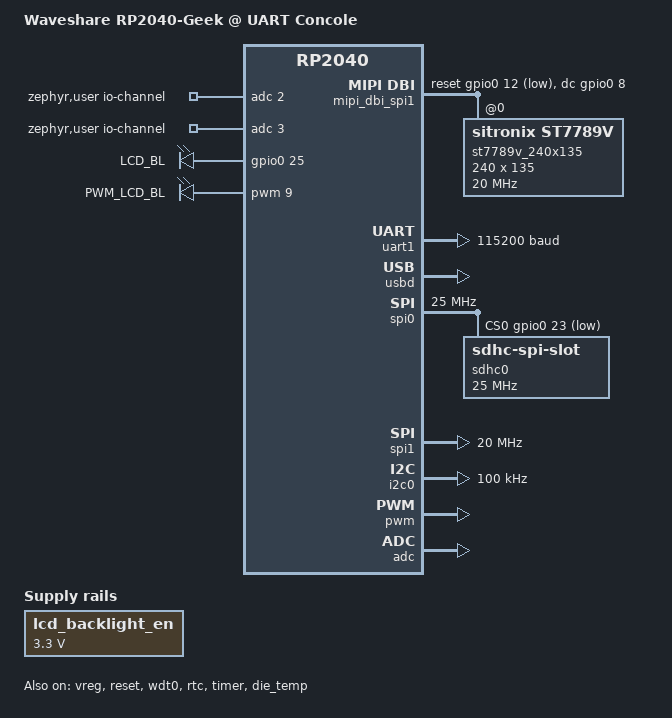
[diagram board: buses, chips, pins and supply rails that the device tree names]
/*
 * SPDX-FileCopyrightText: Copyright (c) 2023-2026 TiaC Systems
 * SPDX-License-Identifier: Apache-2.0
 */

/dts-v1/;

#include <freq.h>
#include <mem.h>

#include <raspberrypi/rpi_pico/rp2040.dtsi>
#include <raspberrypi/partitions_2M_default.dtsi>

#include <zephyr/dt-bindings/clock/rpi_pico_rp2040_clock.h>
#include <zephyr/dt-bindings/regulator/rpi_pico.h>

#include <zephyr/dt-bindings/gpio/gpio.h>
#include <zephyr/dt-bindings/i2c/i2c.h>
#include <zephyr/dt-bindings/pwm/pwm.h>

#include <zephyr/dt-bindings/display/panel.h>
#include <zephyr/dt-bindings/mipi_dbi/mipi_dbi.h>

#include "stemma_qt_connector.dtsi"
#include "raspberrypi_dbg_connectors.dtsi"
#include "waveshare_rp2040_geek-pinctrl.dtsi"

/ {
	model = "Waveshare RP2040-Geek @ UART Concole";
	compatible = "waveshare,rp2040-geek",
		     "waveshare,rp2040-geek-uartcons";

	chosen {
		zephyr,sram = &sram0;
		zephyr,flash = &flash0;
		zephyr,flash-controller = &ssi;
		zephyr,code-partition = &code_partition;
		zephyr,console = &uart1;
		zephyr,shell-uart = &uart1;
		zephyr,display = &lcd_panel;
	};

	aliases {
		watchdog0 = &wdt0;
		led0 = &led0;
		pwm-led0 = &pwm_led0;
	};

	zephyr,user {
		io-channels = <&adc 2>, <&adc 3>;
	};

	gpio_leds: gpio-leds {
		compatible = "gpio-leds";

		led0: led0 {
			gpios = <&gpio0 25 GPIO_ACTIVE_HIGH>;
			label = "LCD_BL";
		};
	};

	pwm_leds: pwm-leds {
		compatible = "pwm-leds";

		pwm_led0: pwm-led0 {
			pwms = <&pwm 9 PWM_MSEC(20) PWM_POLARITY_NORMAL>;
			label = "PWM_LCD_BL";
		};
	};

	mipi_dbi_spi1: mipi-dbi-spi1 {
		compatible = "zephyr,mipi-dbi-spi";
		#address-cells = <1>;
		#size-cells = <0>;
	};

	lcd_backlight_en: lcd-backlight-en {
		compatible = "regulator-gpio";
		regulator-name = "lcd_backlight";
	};
};

&flash0 {
	status = "okay";
	reg = <0x10000000 DT_SIZE_M(4)>;
	ranges = <0x0 0x10000000 DT_SIZE_M(4)>;
};

&storage_partition {
	reg = <0x100000 DT_SIZE_M(3)>;
};

&clocks {
	status = "okay";
	pinctrl-0 = <&clocks_default>;
	pinctrl-names = "default";
};

&vreg {
	status = "okay";
	regulator-always-on;
	regulator-allowed-modes = <REGULATOR_RPI_PICO_MODE_NORMAL>;
};

&reset {
	status = "okay";
};

&wdt0 {
	status = "okay";
};

&rtc {
	status = "okay";
	clocks = <&clocks RPI_PICO_CLKID_CLK_RTC>;
};

&timer {
	status = "okay";
};

&dma {
	status = "okay";
};

&die_temp {
	status = "okay";
	friendly-name = "RP2040 chip temperature";
};

&uart1 {
	status = "okay";
	pinctrl-0 = <&uart1_default>;
	pinctrl-names = "default";
	current-speed = <115200>;
};

zephyr_udc0: &usbd {
	status = "okay";
};

&spi0 {
	status = "okay";
	pinctrl-0 = <&spi0_sdhc>;
	pinctrl-names = "default";
	clock-frequency = <DT_FREQ_M(25)>;

	/* GP23 as CSn to MMC/SD-Card slot. */
	cs-gpios = <&gpio0 23 GPIO_ACTIVE_LOW>;

	/* SPI as Secure Digital card Host Controller (SDHC). */
	sdhc0: sdhc@0 {
		compatible = "zephyr,sdhc-spi-slot";
		status = "okay";

		reg = <0>;
		spi-max-frequency = <DT_FREQ_M(25)>;

		/* Secure Digital card as Multi-Media Card (SDMMC) */
		mmc {
			compatible = "zephyr,sdmmc-disk";
			disk-name = "SD";
			status = "okay";
		};
	};
};

&spi1 {
	status = "okay";
	pinctrl-0 = <&spi1_lcd>;
	pinctrl-names = "default";
	clock-frequency = <DT_FREQ_M(20)>;

	/* GP9 as CSn to ST7789V LCD panel controller. */
	cs-gpios = <&gpio0 9 GPIO_ACTIVE_LOW>;
};

&mipi_dbi_spi1 {
	status = "okay";

	/* SPI1 as serial bus to ST7789V LCD panel controller. */
	spi-dev = <&spi1>;
	write-only;

	/* GP8/12 as DC/RST to ST7789V LCD panel controller. */
	reset-gpios = <&gpio0 12 GPIO_ACTIVE_LOW>;
	dc-gpios = <&gpio0 8 GPIO_ACTIVE_HIGH>;

	/* LCD with ST7789V controller. */
	st7789v_240x135: st7789v-240x135@0 {
		compatible = "sitronix,st7789v";
		status = "okay";

		reg = <0>;
		mipi-max-frequency = <DT_FREQ_M(20)>;
		mipi-mode = "MIPI_DBI_MODE_SPI_4WIRE";

		/* 16-bit, RGB565 */
		pixel-format = <PANEL_PIXEL_FORMAT_RGB_565X>;
	//	inversion-on; /* required for CMYK */

		/* landscape */
		width = <240>;
		height = <135>;
		x-offset = <40>;
		y-offset = <53>;
		mdac = <0x60>;
	//	mdac = <0xE0>; /* mirrored */
	//	mdac = <0xA0>; /* overhead */
	//	mdac = <0x20>; /* upsidedown */

		/* portrait */
	//	width = <135>;
	//	height = <240>;
	//	x-offset = <52>;
	//	y-offset = <40>;
	//	mdac = <0x00>;
	//	mdac = <0x40>; /* mirrored */
	//	mdac = <0xC0>; /* overhead */
	//	mdac = <0x80>; /* upsidedown */

		vcom = <0x1f>;
		gctrl = <0x35>;
		vrhs = <0x12>;
		vdvs = <0x20>;
		gamma = <0x01>;
		lcm = <0x2C>;
		porch-param = [0C 0C 00 33 33];
		cmd2en-param = [5A 69 02 01];
		pwctrl1-param = [A4 A1];
		pvgam-param = [D0 08 11 08 0C 15 39 33 50 36 13 14 29 2D];
		nvgam-param = [D0 08 10 08 06 06 39 44 51 0B 16 14 2F 31];
		ram-param = [00 F0];
		rgb-param = [CD 08 14];
	};
};

lcd_panel: &st7789v_240x135 {};

&lcd_backlight_en {
	status = "okay";
	regulator-always-on;
	regulator-min-microvolt = <0>;
	regulator-max-microvolt = <3300000>;
	regulator-init-microvolt = <3300000>;

	/* GP25 as backlight switch to LCD panel. */
	gpios = <&gpio0 25 GPIO_ACTIVE_HIGH>;
	states = <3300000 1>, <0 0>;
};

&i2c0 {
	status = "okay";
	pinctrl-0 = <&i2c0_geek_default>;
	pinctrl-names = "default";
	clock-frequency = <I2C_BITRATE_STANDARD>;
};

&i2c1 {
	status = "disabled";
	pinctrl-0 = <&i2c1_geek_default>;
	pinctrl-names = "default";
	clock-frequency = <I2C_BITRATE_STANDARD>;
};

rpigeek_pwm: &pwm {
	status = "okay";
	pinctrl-0 = <&pwm_geek_default>;
	pinctrl-names = "default";
	divider-int-4 = <255>;  /* led: PWM4CHB (9) */
};

rpigeek_adc: &adc {
	status = "okay";
	pinctrl-0 = <&adc_default>;
	pinctrl-names = "default";
};

&gpio0 {
	status = "okay";
	/* namespace and positions without wired bits */
	gpio-reserved-ranges = <0 2>,  <6 2>,  <13 5>,
			       <21 2>, <24 1>, <26 2>;
	gpio-line-names =
		"",			/* GP0 */
		"",			/* GP1 */
		"GP2_SDA0",		/* GP2 */
		"GP3_SCL0",		/* GP3 */
		"TX1",			/* GP4 */
		"RX1",			/* GP5 */
		"",			/* GP6 */
		"",			/* GP7 */
		"LCD_DC",		/* GP8 */
		"LCD_CSN1",		/* GP9 */
		"LCD_SCK1",		/* GP10 */
		"LCD_SDO1",		/* GP11 */
		"LCD_RST",		/* GP12 */
		"",			/* GP13 */
		"",			/* GP14 */
		"",			/* GP15 */
		"",			/* GP16 */
		"",			/* GP17 */
		"SDHC_SCK0",		/* GP18 */
		"SDHC_SDO0",		/* GP19 */
		"SDHC_SDI0",		/* GP20 */
		"",			/* GP21 */
		"",			/* GP22 */
		"SDHC_CSN0",		/* GP23 */
		"",			/* GP24 */
		"LCD_BL_PWM9",		/* GP25 */
		"",			/* GP26 */
		"",			/* GP27 */
		"SDA0_ADC2",		/* GP28 */
		"SCL0_ADC3";		/* GP29 */
};
